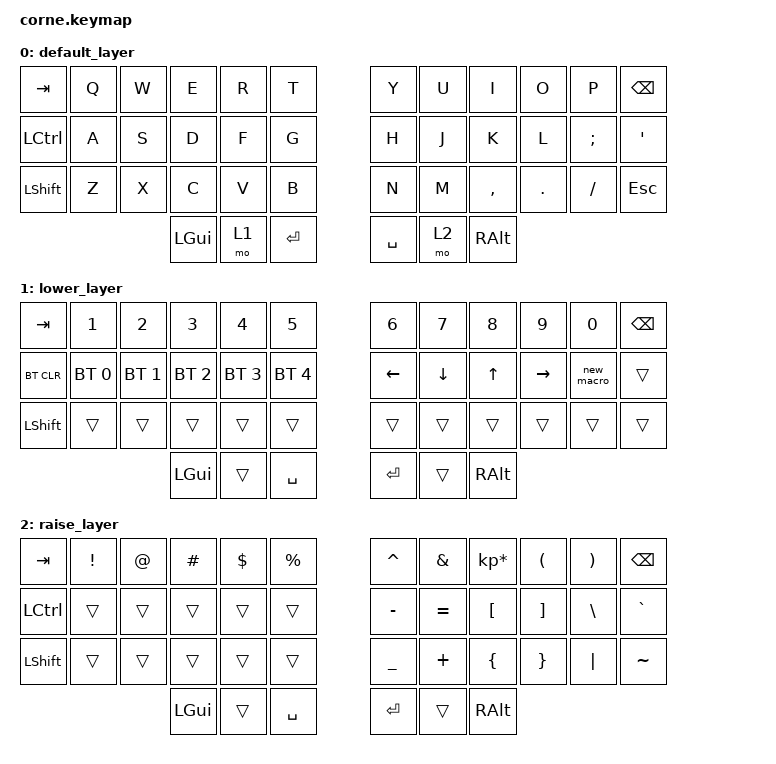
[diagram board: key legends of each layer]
/*
 * Copyright (c) 2020 The ZMK Contributors
 *
 * SPDX-License-Identifier: MIT
 */

#include <behaviors.dtsi>
#include <dt-bindings/zmk/bt.h>
#include <dt-bindings/zmk/keys.h>

/ {
    combos {
        compatible = "zmk,combos";

        new_combo {
            bindings = <&trans>;
            key-positions = <39 37>;
            layers = <0>;
        };
    };

    macros {
        new_macro: new_macro {
            compatible = "zmk,behavior-macro";
            label = "NEW_MACRO";
            #binding-cells = <0>;
            bindings =
                <&none &kp LS(H) &kp E &kp L &kp L &kp O &kp COMMA &kp RET &kp RET &kp LS(I) &kp SPACE &kp H &kp O &kp P &kp E &kp SPACE &kp Y &kp O &kp U &kp SPACE &kp A &kp R &kp E &kp SPACE &kp H &kp A &kp V &kp I &kp N &kp G &kp SPACE &kp A &kp SPACE &kp L &kp O &kp V &kp E &kp L &kp Y &kp SPACE &kp D &kp A &kp Y &kp SPACE &kp S &kp O &kp SPACE &kp F &kp A &kp R &kp COMMA &kp SPACE &kp RET &kp RET &kp LS(B) &kp E &kp S &kp T &kp COMMA &kp SPACE &kp RET &kp LS(R) &kp A &kp I &kp D>,
                <&macro_press>,
                <&kp LS(TAB)>;
        };
    };

    keymap {
        compatible = "zmk,keymap";

        default_layer {
            // -----------------------------------------------------------------------------------------
            // |  TAB |  Q  |  W  |  E  |  R  |  T  |   |  Y  |  U   |  I  |  O  |  P  | BKSP |
            // | CTRL |  A  |  S  |  D  |  F  |  G  |   |  H  |  J   |  K  |  L  |  ;  |  '   |
            // | SHFT |  Z  |  X  |  C  |  V  |  B  |   |  N  |  M   |  ,  |  .  |  /  | ESC  |
            //                    | GUI | LWR | LCMD |   | SPC | RSE  | ALT |

            bindings = <
  &kp TAB  &kp Q  &kp W     &kp E  &kp R      &kp T        &kp Y  &kp U      &kp I    &kp O     &kp P  &kp BSPC
&kp LCTRL  &kp A  &kp S     &kp D  &kp F      &kp G        &kp H  &kp J      &kp K    &kp L  &kp SEMI   &kp SQT
&kp LSHFT  &kp Z  &kp X     &kp C  &kp V      &kp B        &kp N  &kp M  &kp COMMA  &kp DOT  &kp FSLH   &kp ESC
                         &kp LGUI  &mo 1  &kp ENTER    &kp SPACE  &mo 2   &kp RALT
            >;
        };

        lower_layer {
            // -----------------------------------------------------------------------------------------
            // |  TAB |  1  |  2  |  3  |  4  |  5  |   |  6  |  7  |  8  |  9  |  0  | BKSP |
            // | BTCLR| BT1 | BT2 | BT3 | BT4 | BT5 |   | LFT | DWN |  UP | RGT |     |      |
            // | SHFT |     |     |     |     |     |   |     |     |     |     |     |      |
            //                    | GUI |     | LCMD |   | SPC |     | ALT |

            bindings = <
   &kp TAB        &kp N1        &kp N2        &kp N3        &kp N4        &kp N5      &kp N6    &kp N7    &kp N8     &kp N9      &kp N0  &kp BSPC
&bt BT_CLR  &bt BT_SEL 0  &bt BT_SEL 1  &bt BT_SEL 2  &bt BT_SEL 3  &bt BT_SEL 4    &kp LEFT  &kp DOWN    &kp UP  &kp RIGHT  &new_macro    &trans
 &kp LSHFT        &trans        &trans        &trans        &trans        &trans      &trans    &trans    &trans     &trans      &trans    &trans
                                            &kp LGUI        &trans     &kp SPACE     &kp RET    &trans  &kp RALT
            >;
        };

        raise_layer {
            // -----------------------------------------------------------------------------------------
            // |  TAB |  !  |  @  |  #  |  $  |  %  |   |  ^  |  &  |  *  |  (  |  )  | BKSP |
            // | CTRL |     |     |     |     |     |   |  -  |  =  |  [  |  ]  |  \  |  `   |
            // | SHFT |     |     |     |     |     |   |  _  |  +  |  {  |  }  | "|" |  ~   |
            //                    | GUI |     | LCMD |   | SPC |     | ALT |

            bindings = <
  &kp TAB  &kp EXCL  &kp AT  &kp HASH  &kp DLLR  &kp PRCNT    &kp CARET   &kp AMPS  &kp KP_MULTIPLY  &kp LPAR  &kp RPAR   &kp BSPC
&kp LCTRL    &trans  &trans    &trans    &trans     &trans    &kp MINUS  &kp EQUAL         &kp LBKT  &kp RBKT  &kp BSLH  &kp GRAVE
&kp LSHFT    &trans  &trans    &trans    &trans     &trans    &kp UNDER   &kp PLUS         &kp LBRC  &kp RBRC  &kp PIPE  &kp TILDE
                             &kp LGUI    &trans  &kp SPACE      &kp RET     &trans         &kp RALT
            >;
        };
    };
};
